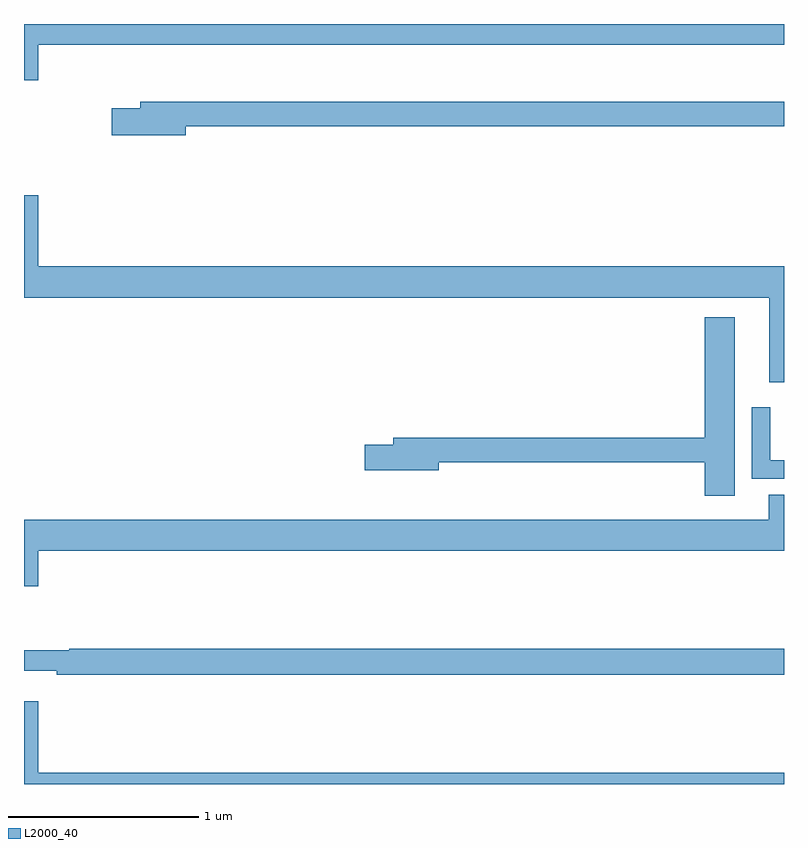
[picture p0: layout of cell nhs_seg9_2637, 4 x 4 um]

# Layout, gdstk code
import gdstk
lib = gdstk.Library(unit=1e-6, precision=1e-09)
def P(c, l, *ps):  # polygons
    for p in ps: c.add(gdstk.Polygon(p, *l))
L2000_40 = (2000, 40)

nhs_seg9_2637 = lib.new_cell('nhs_seg9_2637')
P(nhs_seg9_2637, L2000_40, [(261.076,1224.392),(265,1224.392),(265,1224.5),(261,1224.5),(261,1224.204),(261.076,1224.204)],
  [(261.85,1223.962),(265,1223.962),(265,1224.091),(261.611,1224.091),(261.611,1224.057),(261.462,1224.057),(261.462,1223.915),(261.85,1223.915)],
  [(265,1223.224),(261.076,1223.224),(261.076,1223.599),(261,1223.599),(261,1223.06),(264.923,1223.06),(264.923,1222.614),(265,1222.614)],
  [(264.742,1222.957),(264.584,1222.957),(264.584,1222.322),(262.943,1222.322),(262.943,1222.286),(262.794,1222.286),(262.794,1222.151),(263.182,1222.151),(263.182,1222.194),(264.584,1222.194),(264.584,1222.017),(264.742,1222.017)],
  [(265,1222.203),(264.927,1222.203),(264.927,1222.483),(264.831,1222.483),(264.831,1222.107),(265,1222.107)],
  [(261.076,1221.728),(265,1221.728),(265,1222.022),(264.92,1222.022),(264.92,1221.892),(261,1221.892),(261,1221.54),(261.076,1221.54)],
  [(265,1221.212),(261.239,1221.212),(261.239,1221.205),(261,1221.205),(261,1221.095),(261.172,1221.095),(261.172,1221.076),(265,1221.076)],
  [(265,1220.56),(261.076,1220.56),(261.076,1220.935),(261,1220.935),(261,1220.5),(265,1220.5)])

lib.write_gds('nhs_seg9_2637.gds')
